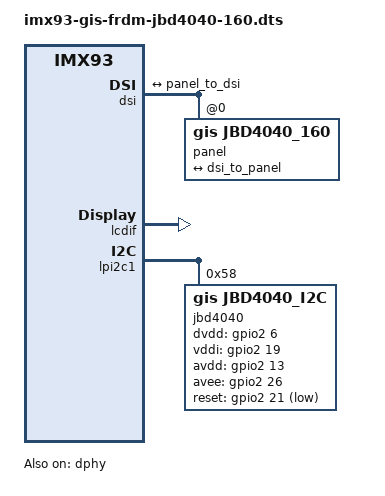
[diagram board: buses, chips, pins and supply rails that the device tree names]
// SPDX-License-Identifier: (GPL-2.0+ OR MIT)
/*
 * Copyright 2024 NXP
 */

//#include "imx93-gis-sdmb.dts"
#include "imx93-gis-frdm-test-jbd4040.dts"
#include <dt-bindings/clock/imx93-clock.h>

&lvds_bridge {
	status = "disabled";
};

&ldb {
	status = "disabled";
};

&ldb_phy {
	status = "disabled";
};

&dphy {
	status = "okay";
};

&dsi {
    status = "okay";

    ports {
        port@1{
            reg = <1>;

            dsi_to_panel: endpoint {
                remote-endpoint = <&panel_to_dsi>;
            };
        };
    };

    panel@0{
        reg = <0>;
        //compatible = "ws,ws_800x480";
        compatible = "gis,jbd4040_160";

        ports {
            port@1{
                panel_to_dsi: endpoint {
                    remote-endpoint = <&dsi_to_panel>;
                };
            };
        };
    };
};

&lcdif {
	//assigned-clock-rates = <484000000>, <121000000>, <400000000>, <133333333>;
	assigned-clock-rates = <480000000>, <160000000>, <400000000>, <133333333>;
        status = "okay";
};



&lpi2c1 {
        jbd4040: panel_r@58 {
                compatible = "gis,jbd4040_i2c";
                reg = <0x58>;
                status = "okay";

                pinctrl-names = "default";
                pinctrl-0 = <&pinctrl_jbdpmic>;

                /* 2. 定義各個控制引腳 (對應 GPIO2 的各個管腳) */
                dvdd-gpios  = <&gpio2 6  GPIO_ACTIVE_HIGH>;
                vddi-gpios  = <&gpio2 19 GPIO_ACTIVE_HIGH>;
                avdd-gpios  = <&gpio2 13 GPIO_ACTIVE_HIGH>;
                avee-gpios  = <&gpio2 26 GPIO_ACTIVE_HIGH>;
                reset-gpios = <&gpio2 21 GPIO_ACTIVE_LOW>;
                 
        	regmap {
            		luminance@200a14 {
                		reg = <0x200a14>;
                		bitmask = <0x00001fff>;
                		label = "luminance";
            		};
            		current@200100 {
                		reg = <0x200100>;
                		bitmask = <0x000000ff>;
                		label = "current";
            		};
            		temperature@200404 {
                		reg = <0x200404>;
                		bitmask = <0x000003ff>;
                		label = "temperature";
            		};
            		flip@20020e {
                		reg = <0x20020e>;
                		bitmask = <0x00000002>;
               			label = "flip";
            		};
            		mirror@20020e {
                		reg = <0x20020e>;
                		bitmask = <0x00000001>;
                		label = "mirror";
            		};
            		offset@200a24 {
                		reg = <0x200a24>;
                		bitmask = <0x00001f1f>;
                		label = "offset";
            		};
        	};
        };
    	panel_g@59 {
        	        compatible = "gis,jbd4040_i2c_59_dummy";
                	reg = <0x59>;
                	status = "okay";
    	};
    	panel_g@5a {
        	        compatible = "gis,jbd4040_i2c_5a_dummy";
                	reg = <0x5a>;
                	status = "okay";
    	};
    	panel_g@5b {
                	compatible = "gis,jbd4040_i2c_5b_dummy";
                	reg = <0x5b>;
                	status = "okay";
    	};
};

&iomuxc {
    pinctrl_jbdpmic: jbdpmicgrp {
        fsl,pins = <
            MX93_PAD_GPIO_IO06__GPIO2_IO06 	0x40000041
            MX93_PAD_GPIO_IO13__GPIO2_IO13 	0x40000041
            MX93_PAD_GPIO_IO19__GPIO2_IO19 	0x40000041
            MX93_PAD_GPIO_IO21__GPIO2_IO21 	0x40000041
            MX93_PAD_GPIO_IO26__GPIO2_IO26 	0x40000041
        >;
    };
};


